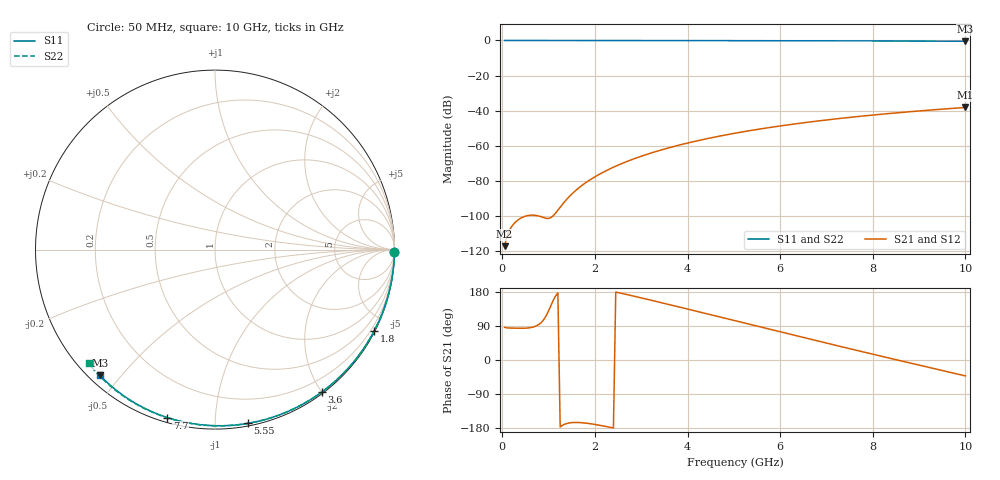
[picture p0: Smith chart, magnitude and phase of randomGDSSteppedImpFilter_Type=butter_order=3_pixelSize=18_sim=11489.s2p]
! freq	dB(S11)	phase(S11)	dB(S12)	phase(S12)
!  dB(S21)	phase(S21)	dB(S22)	phase(S22)
!S-par simulation data
#  GHz  S  DB  R 50
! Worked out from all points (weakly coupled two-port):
!   200 points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, 50 MHz to 10 GHz, reference 50 ohm
!   highest |S21| = -38.12 dB at 10 GHz (marker M1); lowest = -117.0 dB at 50 MHz (marker M2)
!   lowest |S11| = -0.4 dB at 10 GHz (marker M3), VSWR 38.82, Z = 1.54 - j22 ohm
!   |S11| at or under -10 dB: nowhere
!   |S22| runs from -0.5 to 0.0 dB; largest |S21 - S12| = 0
!   S11 on the Smith chart (normalised r, x): 50 MHz: open; 1.8 GHz: 0.04, -4.14; 3.6 GHz: 0.02, -2.00; 5.55 GHz: 0.02, -1.21; 7.7 GHz: 0.02, -0.75; 10 GHz: 0.03, -0.44
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0.05  -0.00 -0.8  -117.01 86.3  -117.01 86.3  -0.00 -0.8
0.45  -0.01 -6.9  -100.42 83.8  -100.42 83.8  -0.01 -7.2
0.9  -0.02 -13.7  -100.83 107.4  -100.83 107.4  -0.02 -14.3
1.75  -0.03 -26.4  -81.88 -165.9  -81.88 -165.9  -0.04 -27.5
1.8  -0.03 -27.2  -80.93 -166.5  -80.93 -166.5  -0.04 -28.3
1.85  -0.04 -27.9  -80.04 -167.3  -80.04 -167.3  -0.04 -29.1
2.15  -0.04 -32.3  -75.34 -173.3  -75.34 -173.3  -0.04 -33.7
2.35  -0.05 -35.2  -72.70 -178.2  -72.70 -178.2  -0.05 -36.7
2.55  -0.05 -38.1  -70.35 176.6  -70.35 176.6  -0.05 -39.8
2.95  -0.06 -43.9  -66.31 165.4  -66.31 165.4  -0.06 -45.7
3.4  -0.07 -50.3  -62.53 152.3  -62.53 152.3  -0.07 -52.4
3.6  -0.07 -53.1  -61.04 146.4  -61.04 146.4  -0.07 -55.3
3.9  -0.08 -57.3  -58.99 137.4  -58.99 137.4  -0.08 -59.6
4.3  -0.09 -62.7  -56.54 125.4  -56.54 125.4  -0.09 -65.3
5.05  -0.11 -72.8  -52.63 102.8  -52.63 102.8  -0.12 -75.7
5.55  -0.13 -79.3  -50.42 87.7  -50.42 87.7  -0.14 -82.5
6.1  -0.15 -86.3  -48.26 71.3  -48.26 71.3  -0.16 -89.8
6.7  -0.18 -93.8  -46.17 53.4  -46.17 53.4  -0.19 -97.6
7.7  -0.24 -105.9  -43.21 24.0  -43.21 24.0  -0.25 -110.1
8.35  -0.29 -113.5  -41.56 5.2  -41.56 5.2  -0.30 -118.1
9.2  -0.36 -123.4  -39.67 -19.2  -39.67 -19.2  -0.38 -128.4
10  -0.45 -132.5  -38.12 -42.0  -38.12 -42.0  -0.47 -138.1
